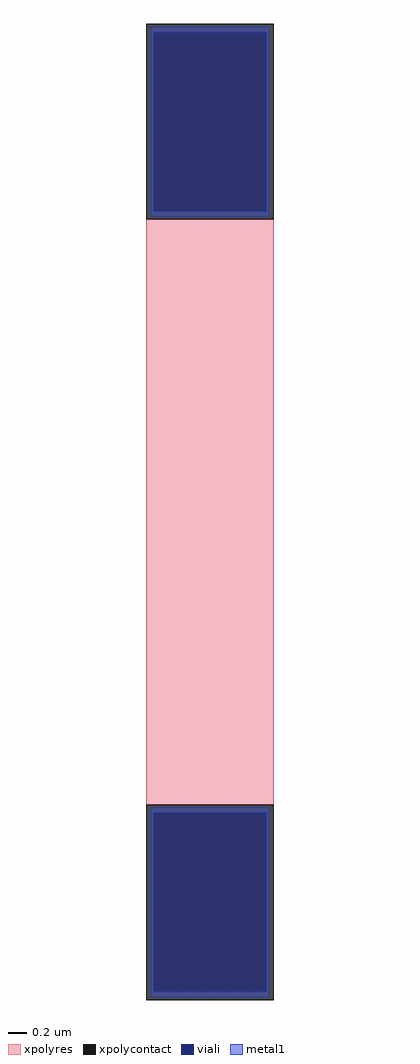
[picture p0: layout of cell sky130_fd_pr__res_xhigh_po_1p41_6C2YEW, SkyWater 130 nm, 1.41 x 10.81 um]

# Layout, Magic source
magic
tech sky130A
magscale 1 2
<< xpolycontact >>
rect -141 649 141 1081
rect -141 -1081 141 -649
<< xpolyres >>
rect -141 -649 141 649
<< viali >>
rect -125 666 125 1063
rect -125 -1063 125 -666
<< metal1 >>
rect -131 1063 131 1075
rect -131 666 -125 1063
rect 125 666 131 1063
rect -131 654 131 666
rect -131 -666 131 -654
rect -131 -1063 -125 -666
rect 125 -1063 131 -666
rect -131 -1075 131 -1063
<< properties >>
string gencell sky130_fd_pr__res_xhigh_po_1p41
string library sky130
string parameters w 1.410 l 6.653 m 1 nx 1 wmin 1.410 lmin 0.50 rho 2000 val 9.703k dummy 0 dw 0.0 term 188.2 sterm 0.0 caplen 0 wmax 1.410 guard 0 glc 1 grc 1 gtc 1 gbc 1 compatible {sky130_fd_pr__res_xhigh_po_0p35  sky130_fd_pr__res_xhigh_po_0p69 sky130_fd_pr__res_xhigh_po_1p41  sky130_fd_pr__res_xhigh_po_2p85 sky130_fd_pr__res_xhigh_po_5p73} snake 0 full_metal 1 n_guard 0 hv_guard 0 vias 1 viagb 0 viagt 0 viagl 0 viagr 0
<< end >>
